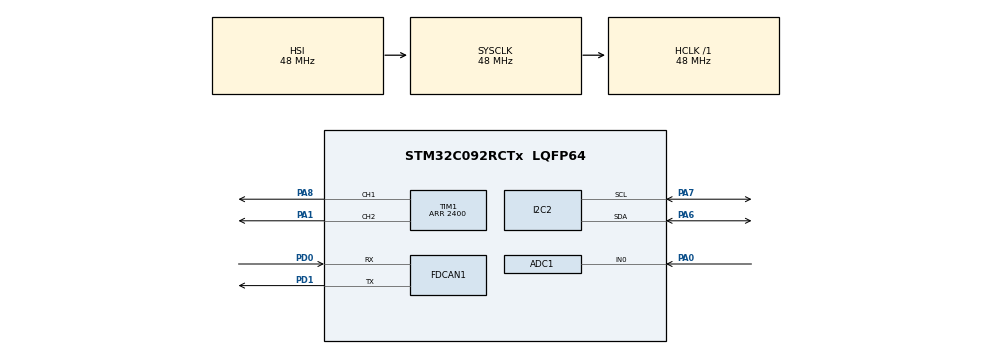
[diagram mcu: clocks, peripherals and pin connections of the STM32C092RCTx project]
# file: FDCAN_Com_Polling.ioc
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ADC1.NbrOfConversionFlag=0
ADC1.SelectedChannel=ADC_CHANNEL_0
ADC1.master=1
FDCAN1.AutoRetransmission=ENABLE
FDCAN1.CalculateBaudRateData=1000000
FDCAN1.CalculateBaudRateNominal=1000000
FDCAN1.CalculateTimeBitNominal=1000
FDCAN1.CalculateTimeQuantumNominal=20.833333333333332
FDCAN1.DataSyncJumpWidth=6
FDCAN1.DataTimeSeg1=17
FDCAN1.DataTimeSeg2=6
FDCAN1.FrameFormat=FDCAN_FRAME_FD_BRS
FDCAN1.NominalPrescaler=1
FDCAN1.NominalSyncJumpWidth=12
FDCAN1.NominalTimeSeg1=35
FDCAN1.NominalTimeSeg2=12
FDCAN1.StdFiltersNbr=1
FDCAN1.TransmitPause=ENABLE
I2C2.Timing=0x10805D88
Mcu.Family=STM32C0
Mcu.Name=STM32C092RCTx
Mcu.Package=LQFP64
NUCLEO-C092RC.BUTTON=2
NUCLEO-C092RC.LD1=true
NUCLEO-C092RC.LD2=true
NUCLEO-C092RC.VCP=true
NVIC.TIM2_IRQn=true\:0\:0\:false\:false\:true\:true\:true\:true
PA0.Mode=IN0
PA0.Signal=ADC1_IN0
PA1.Signal=S_TIM1_CH2
PA6.Mode=I2C
PA6.Signal=I2C2_SDA
PA7.Mode=I2C
PA7.Signal=I2C2_SCL
PA8.Signal=S_TIM1_CH1
PD0.Mode=FDCAN_Activate
PD0.Signal=FDCAN1_RX
PD1.Mode=FDCAN_Activate
PD1.Signal=FDCAN1_TX
ProjectManager.HeapSize=0x200
ProjectManager.StackSize=0x400
ProjectManager.TargetToolchain=STM32CubeIDE
RCC.ADCFreq_Value=48000000
RCC.AHBFreq_Value=48000000
RCC.CortexFreq_Value=48000000
RCC.EXTERNAL_CLOCK_VALUE=12288000
RCC.HCLKFreq_Value=48000000
RCC.HSE_VALUE=8000000
RCC.HSISYSCLKDivider=RCC_HSI_DIV1
RCC.HSI_VALUE=48000000
RCC.LSE_VALUE=32768
RCC.SYSCLKFreq_VALUE=48000000
SH.S_TIM1_CH1.0=TIM1_CH1,PWM Generation1 CH1
SH.S_TIM1_CH2.0=TIM1_CH2,PWM Generation2 CH2
TIM1.Channel-PWM\ Generation1\ CH1=TIM_CHANNEL_1
TIM1.Channel-PWM\ Generation2\ CH2=TIM_CHANNEL_2
TIM1.Period=2400
TIM2.Period=48000
VP_NUCLEO-C092RC_VS_BSP_COMMON.Mode=COMMON
VP_TIM2_VS_ClockSourceINT.Mode=Internal
board=NUCLEO-C092RC

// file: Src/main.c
/* USER CODE BEGIN Header */
/**
  ******************************************************************************
  * @file    FDCAN/FDCAN_Com_Polling/Src/main.c
  * @author  MCD Application Team
  * @brief   This sample code shows how to achieve Polling Process Communication
  *          between two FDCAN units.
  ******************************************************************************
  * @attention
  *
  * Copyright (c) 2024 STMicroelectronics.
  * All rights reserved.
  *
  * This software is licensed under terms that can be found in the LICENSE file
  * in the root directory of this software component.
  * If no LICENSE file comes with this software, it is provided AS-IS.
  *
  ******************************************************************************
  */
/* USER CODE END Header */
#include "main.h"

/* USER CODE BEGIN Includes */
#include "currentControl_lib.h"
/* USER CODE END Includes */

/* USER CODE BEGIN PD */
#define TX_ID          (0x111)   /* TX CAN message identifier    */
#define RX_ID          (0x111)   /* RX CAN message identifier    */
/* USER CODE END PD */

/* USER CODE BEGIN PM */
#define COUNTOF(BUFFER) (sizeof((BUFFER)) / sizeof(*(BUFFER)))
/* USER CODE END PM */

COM_InitTypeDef BspCOMInit;
ADC_HandleTypeDef hadc1;

FDCAN_HandleTypeDef hfdcan1;

I2C_HandleTypeDef hi2c2;

TIM_HandleTypeDef htim1;
TIM_HandleTypeDef htim2;

/* USER CODE BEGIN PV */
FDCAN_RxHeaderTypeDef rxHeader;
FDCAN_TxHeaderTypeDef txHeader;
uint8_t rxData[16U];
static const uint8_t txData[] = {0x10, 0x32, 0x54, 0x76, 0x98, 0x00, 0x11, 0x22,
                                 0x33, 0x44, 0x55, 0x66, 0x77, 0x88, 0x99, 0x00
                                };

/* USER CODE END PV */

void SystemClock_Config(void);
static void MX_GPIO_Init(void);
static void MX_FDCAN1_Init(void);
static void MX_ADC1_Init(void);
static void MX_I2C2_Init(void);
static void MX_TIM1_Init(void);
static void MX_TIM2_Init(void);
/* USER CODE BEGIN PFP */
static uint32_t BufferCmp8b(const uint8_t *pBuffer1, const uint8_t *pBuffer2, uint16_t BufferLength);

/* USER CODE END PFP */

int main(void)
{

  /* USER CODE BEGIN 1 */

  /* STM32C0xx HAL library initialization:
       - Configure the Flash prefetch
       - Systick timer is configured by default as source of time base, but user
         can eventually implement his proper time base source (a general purpose
         timer for example or other time source), keeping in mind that Time base
         duration should be kept 1ms since PPP_TIMEOUT_VALUEs are defined and
         handled in milliseconds basis.
       - Low Level Initialization
     */
  /* USER CODE END 1 */

  /* MCU Configuration--------------------------------------------------------*/

  /* Reset of all peripherals, Initializes the Flash interface and the Systick. */
  HAL_Init();

  /* Configure the system clock */
  SystemClock_Config();

  /* USER CODE BEGIN SysInit */
  /* Configure LED1 and LED2 */
  BSP_LED_Init(LED1);
  BSP_LED_Init(LED2);

  /* Configure User push-button in interrupt mode */
  BSP_PB_Init(BUTTON_USER, BUTTON_MODE_EXTI);

  /* USER CODE END SysInit */

  /* Initialize all configured peripherals */
  MX_GPIO_Init();
  MX_FDCAN1_Init();
  MX_ADC1_Init();
  MX_I2C2_Init();
  MX_TIM1_Init();
  MX_TIM2_Init();
  /* USER CODE BEGIN 2 */

  /* Configure reception filter to Rx FIFO 0 */
  FDCAN_FilterTypeDef        sFilterConfig;
  sFilterConfig.IdType       = FDCAN_STANDARD_ID;
  sFilterConfig.FilterIndex  = 0U;
  sFilterConfig.FilterType   = FDCAN_FILTER_MASK;
  sFilterConfig.FilterConfig = FDCAN_FILTER_TO_RXFIFO0;
  sFilterConfig.FilterID1    = TX_ID;
  sFilterConfig.FilterID2    = 0x7FF;
  if (HAL_FDCAN_ConfigFilter(&hfdcan1, &sFilterConfig) != HAL_OK)
  {
    Error_Handler();
  }

  /**
    *  Configure global filter:
    *    - Filter all remote frames with STD and EXT ID
    *    - Reject non matching frames with STD ID and EXT ID
    */
  if (HAL_FDCAN_ConfigGlobalFilter(&hfdcan1,
                                   FDCAN_REJECT, FDCAN_REJECT,
                                   FDCAN_FILTER_REMOTE, FDCAN_FILTER_REMOTE) != HAL_OK)
  {
    Error_Handler();
  }

  /* Prepare Tx message Header */
  txHeader.Identifier          = TX_ID;
  txHeader.IdType              = FDCAN_STANDARD_ID;
  txHeader.TxFrameType         = FDCAN_DATA_FRAME;
  txHeader.DataLength          = FDCAN_DLC_BYTES_16;
  txHeader.ErrorStateIndicator = FDCAN_ESI_ACTIVE;
  txHeader.BitRateSwitch       = FDCAN_BRS_ON;
  txHeader.FDFormat            = FDCAN_FD_CAN;
  txHeader.TxEventFifoControl  = FDCAN_NO_TX_EVENTS;
  txHeader.MessageMarker       = 0U;

  /**
    * Configure and enable Tx Delay Compensation, required for BRS mode.
    * TdcOffset default recommended value: DataTimeSeg1 * DataPrescaler
    * TdcFilter default recommended value: 0
    */
  if (HAL_FDCAN_ConfigTxDelayCompensation(&hfdcan1,
                                          (hfdcan1.Init.DataPrescaler * hfdcan1.Init.DataTimeSeg1), 0U) != HAL_OK)
  {
    Error_Handler();
  }

  if (HAL_FDCAN_EnableTxDelayCompensation(&hfdcan1) != HAL_OK)
  {
    Error_Handler();
  }

  /* Start FDCAN controller */
  if (HAL_FDCAN_Start(&hfdcan1) != HAL_OK)
  {
    Error_Handler();
  }

  // Enable timer interrupt
  HAL_TIM_Base_Start_IT(&htim2);

  init_PWM_STM32();
  init_ina219();

  /* USER CODE END 2 */

  /* Initialize leds */
  BSP_LED_Init(LED_GREEN);
  BSP_LED_Init(LED_BLUE);

  /* Initialize User push-button without interrupt mode. */
  BSP_PB_Init(BUTTON_USER, BUTTON_MODE_GPIO);

  /* Initialize COM1 port (115200, 8 bits (7-bit data + 1 stop bit), no parity */
  BspCOMInit.BaudRate   = 115200;
  BspCOMInit.WordLength = COM_WORDLENGTH_8B;
  BspCOMInit.StopBits   = COM_STOPBITS_1;
  BspCOMInit.Parity     = COM_PARITY_NONE;
  BspCOMInit.HwFlowCtl  = COM_HWCONTROL_NONE;
  if (BSP_COM_Init(COM1, &BspCOMInit) != BSP_ERROR_NONE)
  {
    Error_Handler();
  }

  /* Infinite loop */
  /* USER CODE BEGIN WHILE */
  while (1)
  {
//	  // testing motor movement
//	  __HAL_TIM_SET_COMPARE(&htim1, TIM_CHANNEL_1, 1200);
//	  __HAL_TIM_SET_COMPARE(&htim1, TIM_CHANNEL_2, 2400);
//	  HAL_Delay(500);
//	  __HAL_TIM_SET_COMPARE(&htim1, TIM_CHANNEL_1, 2400);
//	  __HAL_TIM_SET_COMPARE(&htim1, TIM_CHANNEL_2, 1200);
//	  HAL_Delay(500);

	  uint8_t c;
	  //print_STM32("START!\n");
	  HAL_StatusTypeDef status = HAL_UART_Receive(&hcom_uart[COM1], &c, 1, 100);
	  if (status != HAL_OK) continue;  // timeout, nothing received, loop back (because it receive keeps getting stuck on \n for some reason)
	  if (c == '\r' || c == '\n'){
		  //printf("Purging %d\n", c);
		  continue;
	  }

	  if (c == 'a') {
		  //print_STM32("Current Control Requested\n");
	      state = 1;
	      while (state != 0);
	      // print current results
	      for (int i = 0; i < 400; i++) {
	          char buf[32];
	          snprintf(buf, sizeof(buf), "%d\t%hd\t%hd\r\n", i, desired_array[i], current_array[i]);
	          print_STM32(buf);
	      }
	      //print_STM32("Task finished\n");
	  }

//    /* Polling mode: Wait for one message received */
//    while (HAL_FDCAN_GetRxFifoFillLevel(&hfdcan1, FDCAN_RX_FIFO0) < 1U)
//    {
//      /* Do nothing, wait */
//    }
//
//    /* Retrieve Rx message from RX FIFO0 */
//    if (HAL_FDCAN_GetRxMessage(&hfdcan1, FDCAN_RX_FIFO0, &rxHeader, rxData) != HAL_OK)
//    {
//      Error_Handler();
//    }
//
//    /* Compare received RX message to expected data. Ignore if not matching. */
//    if ((rxHeader.Identifier == RX_ID) &&
//        (rxHeader.IdType     == FDCAN_STANDARD_ID) &&
//        (rxHeader.DataLength == FDCAN_DLC_BYTES_16) &&
//        (BufferCmp8b(txData, rxData, COUNTOF(rxData)) == 0U))
//    {
//      /* Turn LED1 on */
//      BSP_LED_On(LED1);
//    }

    /* USER CODE END WHILE */

  }
}

void SystemClock_Config(void)
{
  RCC_OscInitTypeDef RCC_OscInitStruct = {0};
  RCC_ClkInitTypeDef RCC_ClkInitStruct = {0};

  __HAL_FLASH_SET_LATENCY(FLASH_LATENCY_1);

  /** Initializes the RCC Oscillators according to the specified parameters
  * in the RCC_OscInitTypeDef structure.
  */
  RCC_OscInitStruct.OscillatorType = RCC_OSCILLATORTYPE_HSI;
  RCC_OscInitStruct.HSIState = RCC_HSI_ON;
  RCC_OscInitStruct.HSIDiv = RCC_HSI_DIV1;
  RCC_OscInitStruct.HSICalibrationValue = RCC_HSICALIBRATION_DEFAULT;
  if (HAL_RCC_OscConfig(&RCC_OscInitStruct) != HAL_OK)
  {
    Error_Handler();
  }

  /** Initializes the CPU, AHB and APB buses clocks
  */
  RCC_ClkInitStruct.ClockType = RCC_CLOCKTYPE_HCLK|RCC_CLOCKTYPE_SYSCLK
                              |RCC_CLOCKTYPE_PCLK1;
  RCC_ClkInitStruct.SYSCLKSource = RCC_SYSCLKSOURCE_HSI;
  RCC_ClkInitStruct.SYSCLKDivider = RCC_SYSCLK_DIV1;
  RCC_ClkInitStruct.AHBCLKDivider = RCC_HCLK_DIV1;
  RCC_ClkInitStruct.APB1CLKDivider = RCC_APB1_DIV1;

  if (HAL_RCC_ClockConfig(&RCC_ClkInitStruct, FLASH_LATENCY_1) != HAL_OK)
  {
    Error_Handler();
  }
}

static void MX_ADC1_Init(void)
{

  ADC_ChannelConfTypeDef sConfig = {0};

  /** Configure the global features of the ADC (Clock, Resolution, Data Alignment and number of conversion)
  */
  hadc1.Instance = ADC1;
  hadc1.Init.ClockPrescaler = ADC_CLOCK_SYNC_PCLK_DIV2;
  hadc1.Init.Resolution = ADC_RESOLUTION_12B;
  hadc1.Init.DataAlign = ADC_DATAALIGN_RIGHT;
  hadc1.Init.ScanConvMode = ADC_SCAN_SEQ_FIXED;
  hadc1.Init.EOCSelection = ADC_EOC_SINGLE_CONV;
  hadc1.Init.LowPowerAutoWait = DISABLE;
  hadc1.Init.LowPowerAutoPowerOff = DISABLE;
  hadc1.Init.ContinuousConvMode = DISABLE;
  hadc1.Init.NbrOfConversion = 1;
  hadc1.Init.DiscontinuousConvMode = DISABLE;
  hadc1.Init.ExternalTrigConv = ADC_SOFTWARE_START;
  hadc1.Init.ExternalTrigConvEdge = ADC_EXTERNALTRIGCONVEDGE_NONE;
  hadc1.Init.DMAContinuousRequests = DISABLE;
  hadc1.Init.Overrun = ADC_OVR_DATA_PRESERVED;
  hadc1.Init.SamplingTimeCommon1 = ADC_SAMPLETIME_1CYCLE_5;
  hadc1.Init.OversamplingMode = DISABLE;
  hadc1.Init.TriggerFrequencyMode = ADC_TRIGGER_FREQ_HIGH;
  if (HAL_ADC_Init(&hadc1) != HAL_OK)
  {
    Error_Handler();
  }

  /** Configure Regular Channel
  */
  sConfig.Channel = ADC_CHANNEL_0;
  sConfig.Rank = ADC_RANK_CHANNEL_NUMBER;
  if (HAL_ADC_ConfigChannel(&hadc1, &sConfig) != HAL_OK)
  {
    Error_Handler();
  }

}

static void MX_FDCAN1_Init(void)
{

  hfdcan1.Instance = FDCAN1;
  hfdcan1.Init.ClockDivider = FDCAN_CLOCK_DIV1;
  hfdcan1.Init.FrameFormat = FDCAN_FRAME_FD_BRS;
  hfdcan1.Init.Mode = FDCAN_MODE_NORMAL;
  hfdcan1.Init.AutoRetransmission = ENABLE;
  hfdcan1.Init.TransmitPause = ENABLE;
  hfdcan1.Init.ProtocolException = DISABLE;
  hfdcan1.Init.NominalPrescaler = 1;
  hfdcan1.Init.NominalSyncJumpWidth = 12;
  hfdcan1.Init.NominalTimeSeg1 = 35;
  hfdcan1.Init.NominalTimeSeg2 = 12;
  hfdcan1.Init.DataPrescaler = 1;
  hfdcan1.Init.DataSyncJumpWidth = 6;
  hfdcan1.Init.DataTimeSeg1 = 17;
  hfdcan1.Init.DataTimeSeg2 = 6;
  hfdcan1.Init.StdFiltersNbr = 1;
  hfdcan1.Init.ExtFiltersNbr = 0;
  hfdcan1.Init.TxFifoQueueMode = FDCAN_TX_FIFO_OPERATION;
  if (HAL_FDCAN_Init(&hfdcan1) != HAL_OK)
  {
    Error_Handler();
  }

}

static void MX_I2C2_Init(void)
{

  hi2c2.Instance = I2C2;
  hi2c2.Init.Timing = 0x10805D88;
  hi2c2.Init.OwnAddress1 = 0;
  hi2c2.Init.AddressingMode = I2C_ADDRESSINGMODE_7BIT;
  hi2c2.Init.DualAddressMode = I2C_DUALADDRESS_DISABLE;
  hi2c2.Init.OwnAddress2 = 0;
  hi2c2.Init.OwnAddress2Masks = I2C_OA2_NOMASK;
  hi2c2.Init.GeneralCallMode = I2C_GENERALCALL_DISABLE;
  hi2c2.Init.NoStretchMode = I2C_NOSTRETCH_DISABLE;
  if (HAL_I2C_Init(&hi2c2) != HAL_OK)
  {
    Error_Handler();
  }

  /** Configure Analogue filter
  */
  if (HAL_I2CEx_ConfigAnalogFilter(&hi2c2, I2C_ANALOGFILTER_ENABLE) != HAL_OK)
  {
    Error_Handler();
  }

  /** Configure Digital filter
  */
  if (HAL_I2CEx_ConfigDigitalFilter(&hi2c2, 0) != HAL_OK)
  {
    Error_Handler();
  }

}

static void MX_TIM1_Init(void)
{

  TIM_MasterConfigTypeDef sMasterConfig = {0};
  TIM_OC_InitTypeDef sConfigOC = {0};
  TIM_BreakDeadTimeConfigTypeDef sBreakDeadTimeConfig = {0};

  htim1.Instance = TIM1;
  htim1.Init.Prescaler = 0;
  htim1.Init.CounterMode = TIM_COUNTERMODE_UP;
  htim1.Init.Period = 2400;
  htim1.Init.ClockDivision = TIM_CLOCKDIVISION_DIV1;
  htim1.Init.RepetitionCounter = 0;
  htim1.Init.AutoReloadPreload = TIM_AUTORELOAD_PRELOAD_DISABLE;
  if (HAL_TIM_PWM_Init(&htim1) != HAL_OK)
  {
    Error_Handler();
  }
  sMasterConfig.MasterOutputTrigger = TIM_TRGO_RESET;
  sMasterConfig.MasterOutputTrigger2 = TIM_TRGO2_RESET;
  sMasterConfig.MasterSlaveMode = TIM_MASTERSLAVEMODE_DISABLE;
  if (HAL_TIMEx_MasterConfigSynchronization(&htim1, &sMasterConfig) != HAL_OK)
  {
    Error_Handler();
  }
  sConfigOC.OCMode = TIM_OCMODE_PWM1;
  sConfigOC.Pulse = 0;
  sConfigOC.OCPolarity = TIM_OCPOLARITY_HIGH;
  sConfigOC.OCNPolarity = TIM_OCNPOLARITY_HIGH;
  sConfigOC.OCFastMode = TIM_OCFAST_DISABLE;
  sConfigOC.OCIdleState = TIM_OCIDLESTATE_RESET;
  sConfigOC.OCNIdleState = TIM_OCNIDLESTATE_RESET;
  if (HAL_TIM_PWM_ConfigChannel(&htim1, &sConfigOC, TIM_CHANNEL_1) != HAL_OK)
  {
    Error_Handler();
  }
  if (HAL_TIM_PWM_ConfigChannel(&htim1, &sConfigOC, TIM_CHANNEL_2) != HAL_OK)
  {
    Error_Handler();
  }
  sBreakDeadTimeConfig.OffStateRunMode = TIM_OSSR_DISABLE;
  sBreakDeadTimeConfig.OffStateIDLEMode = TIM_OSSI_DISABLE;
  sBreakDeadTimeConfig.LockLevel = TIM_LOCKLEVEL_OFF;
  sBreakDeadTimeConfig.DeadTime = 0;
  sBreakDeadTimeConfig.BreakState = TIM_BREAK_DISABLE;
  sBreakDeadTimeConfig.BreakPolarity = TIM_BREAKPOLARITY_HIGH;
  sBreakDeadTimeConfig.BreakFilter = 0;
  sBreakDeadTimeConfig.BreakAFMode = TIM_BREAK_AFMODE_INPUT;
  sBreakDeadTimeConfig.Break2State = TIM_BREAK2_DISABLE;
  sBreakDeadTimeConfig.Break2Polarity = TIM_BREAK2POLARITY_HIGH;
  sBreakDeadTimeConfig.Break2Filter = 0;
  sBreakDeadTimeConfig.Break2AFMode = TIM_BREAK_AFMODE_INPUT;
  sBreakDeadTimeConfig.AutomaticOutput = TIM_AUTOMATICOUTPUT_DISABLE;
  if (HAL_TIMEx_ConfigBreakDeadTime(&htim1, &sBreakDeadTimeConfig) != HAL_OK)
  {
    Error_Handler();
  }
  HAL_TIM_MspPostInit(&htim1);

}

static void MX_TIM2_Init(void)
{

  TIM_ClockConfigTypeDef sClockSourceConfig = {0};
  TIM_MasterConfigTypeDef sMasterConfig = {0};

  htim2.Instance = TIM2;
  htim2.Init.Prescaler = 0;
  htim2.Init.CounterMode = TIM_COUNTERMODE_UP;
  htim2.Init.Period = 48000;
  htim2.Init.ClockDivision = TIM_CLOCKDIVISION_DIV1;
  htim2.Init.AutoReloadPreload = TIM_AUTORELOAD_PRELOAD_DISABLE;
  if (HAL_TIM_Base_Init(&htim2) != HAL_OK)
  {
    Error_Handler();
  }
  sClockSourceConfig.ClockSource = TIM_CLOCKSOURCE_INTERNAL;
  if (HAL_TIM_ConfigClockSource(&htim2, &sClockSourceConfig) != HAL_OK)
  {
    Error_Handler();
  }
  sMasterConfig.MasterOutputTrigger = TIM_TRGO_RESET;
  sMasterConfig.MasterSlaveMode = TIM_MASTERSLAVEMODE_DISABLE;
  if (HAL_TIMEx_MasterConfigSynchronization(&htim2, &sMasterConfig) != HAL_OK)
  {
    Error_Handler();
  }

}

static void MX_GPIO_Init(void)
{

  /* GPIO Ports Clock Enable */
  __HAL_RCC_GPIOA_CLK_ENABLE();
  __HAL_RCC_GPIOD_CLK_ENABLE();

}

/* USER CODE BEGIN 4 */

/**
  * @brief  BSP User push-button callback
  * @param  Button Specifies the pin connected EXTI line
  * @retval None.
  */
void BSP_PB_Callback(Button_TypeDef Button)
{
  if (Button == BUTTON_USER)
  {
    /* Turn LED1 off */
    BSP_LED_Off(LED1);

    /* Add message to TX FIFO */
    if (HAL_FDCAN_AddMessageToTxFifoQ(&hfdcan1, &txHeader, txData) != HAL_OK)
    {
      Error_Handler();
    }

    /* Delay for simple button debounce */
    HAL_Delay(100U);
  }
}

/**
  * @brief  Compares two buffers.
  * @param  pBuffer1 buffer to be compared.
  * @param  pBuffer2 buffer to be compared.
  * @param  BufferLength: buffer's length.
  * @retval 0: pBuffer1 is identical to pBuffer2
  * @retval 1: pBuffer1 differs from pBuffer2
  */
static uint32_t BufferCmp8b(const uint8_t *pBuffer1, const uint8_t *pBuffer2, uint16_t BufferLength)
{
  while (BufferLength--)
  {
    if (*pBuffer1 != *pBuffer2)
    {
      return 1U;
    }

    pBuffer1++;
    pBuffer2++;
  }
  return 0U;
}
/* USER CODE END 4 */

void Error_Handler(void)
{
  /* USER CODE BEGIN Error_Handler_Debug */
  /* User can add his own implementation to report the HAL error return state */

  while (1)
  {
    /* Toggle LED2 on */
    BSP_LED_Toggle(LED2);

    /* 1s delay */
    HAL_Delay(1000U);
  }
  /* USER CODE END Error_Handler_Debug */
}
